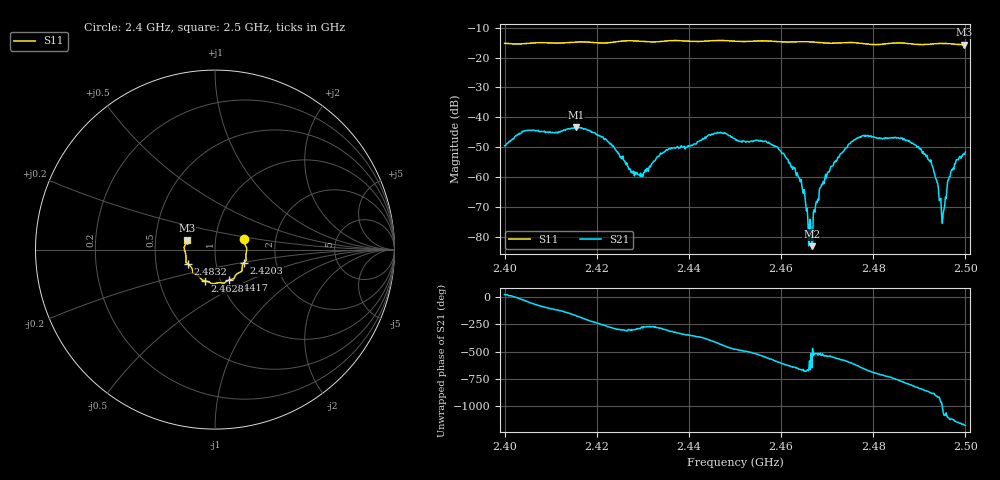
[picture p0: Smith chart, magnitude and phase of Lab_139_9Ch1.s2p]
# Hz S RI R 50
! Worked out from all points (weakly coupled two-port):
!   601 points, 2.4 GHz to 2.5 GHz, reference 50 ohm
!   highest |S21| = -43.39 dB at 2.4155 GHz (marker M1); lowest = -83.1 dB at 2.4667 GHz (marker M2)
!   lowest |S11| = -15.7 dB at 2.4997 GHz (marker M3), VSWR 1.39, Z = 36.3 + j3.69 ohm
!   |S11| at or under -10 dB: start of sweep to end of sweep
!   S12 and S22 are empty: the file has one direction only
!   S11 on the Smith chart (normalised r, x): 2.4 GHz: 1.38, +0.17; 2.4203 GHz: 1.36, -0.21; 2.4417 GHz: 1.09, -0.38; 2.4628 GHz: 0.84, -0.30; 2.4832 GHz: 0.73, -0.12; 2.5 GHz: 0.73, +0.08
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2.4e9  0.163 0.0597  0.00307 0.00131  0 0  0 0
2.4155e9  0.174 -0.0548  -0.00668 -0.00106  0 0  0 0
2.416667e9  0.1736 -0.0595  -0.00664 0.000898  0 0  0 0
2.420333e9  0.1597 -0.0741  -0.00238 0.00444  0 0  0 0
2.428e9  0.1472 -0.1212  0.000586 0.0011  0 0  0 0
2.433333e9  0.113 -0.1455  0.000464 0.00215  0 0  0 0
2.441667e9  0.0759 -0.1696  0.00362 -0.000114  0 0  0 0
2.45e9  0.0327 -0.1851  -0.00206 -0.00384  0 0  0 0
2.458667e9  -0.0248 -0.1851  -0.00243 0.00229  0 0  0 0
2.462833e9  -0.0566 -0.1737  0.000286 0.00139  0 0  0 0
2.464667e9  -0.0674 -0.1715  0.000357 0.00048  0 0  0 0
2.466333e9  -0.0734 -0.168  0.000108 0.000165  0 0  0 0
2.466667e9  -0.0746 -0.1668  2.08e-05 6.64e-05  0 0  0 0
2.468833e9  -0.0833 -0.1558  -0.000758 -7.66e-05  0 0  0 0
2.474333e9  -0.1179 -0.134  -0.00209 0.0023  0 0  0 0
2.483167e9  -0.1518 -0.0795  0.00436 -0.000553  0 0  0 0
2.483333e9  -0.1529 -0.0787  0.00438 -0.00085  0 0  0 0
2.492e9  -0.1663 -0.0129  -0.00163 -0.00107  0 0  0 0
2.495e9  -0.1724 0.0102  4.93e-05 0.000159  0 0  0 0
2.496667e9  -0.1692 0.0208  0.000732 -0.000688  0 0  0 0
2.499667e9  -0.157 0.0495  7.37e-05 -0.00246  0 0  0 0
2.5e9  -0.1561 0.0533  -0.000254 -0.00261  0 0  0 0
